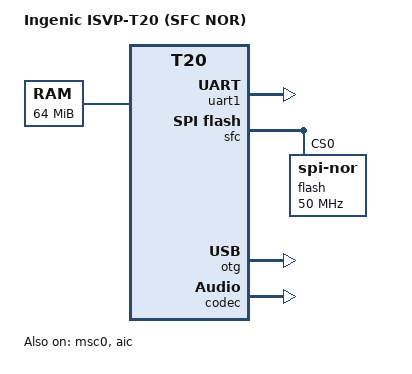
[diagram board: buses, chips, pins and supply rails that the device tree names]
// SPDX-License-Identifier: GPL-2.0+

/dts-v1/;

#include <dt-bindings/gpio/gpio.h>
#include "t20.dtsi"

/ {
	compatible = "ingenic,isvp-t20", "ingenic,t20";
	/* One DT serves T20N/T20L (64M) and T20X (128M); the real
	 * DRAM size is reported by dram_init, the SKU by checkboard. */
	model = "Ingenic ISVP-T20 (SFC NOR)";

	aliases {
		serial1 = &uart1;
	};

	chosen {
		stdout-path = "serial1:115200n8";
	};

	memory {
		device_type = "memory";
		reg = <0x0 0x04000000>;	/* 64 MB DDR2 (T20N) */
	};
};

&uart1 {
	status = "okay";
};

&sfc {
	status = "okay";

	flash@0 {
		compatible = "jedec,spi-nor";
		reg = <0>;
		spi-max-frequency = <50000000>;
	};
};

&msc0 {
	status = "okay";
	bus-width = <4>;
	broken-cd;	/* no card-detect line wired on the ISVP board */
};

&otg {
	status = "okay";
};

&aic {
	status = "okay";
};

&codec {
	status = "okay";
	ingenic,spk-gpio = <&gpb 31 GPIO_ACTIVE_HIGH>;
};

&sound {
	status = "okay";
};
